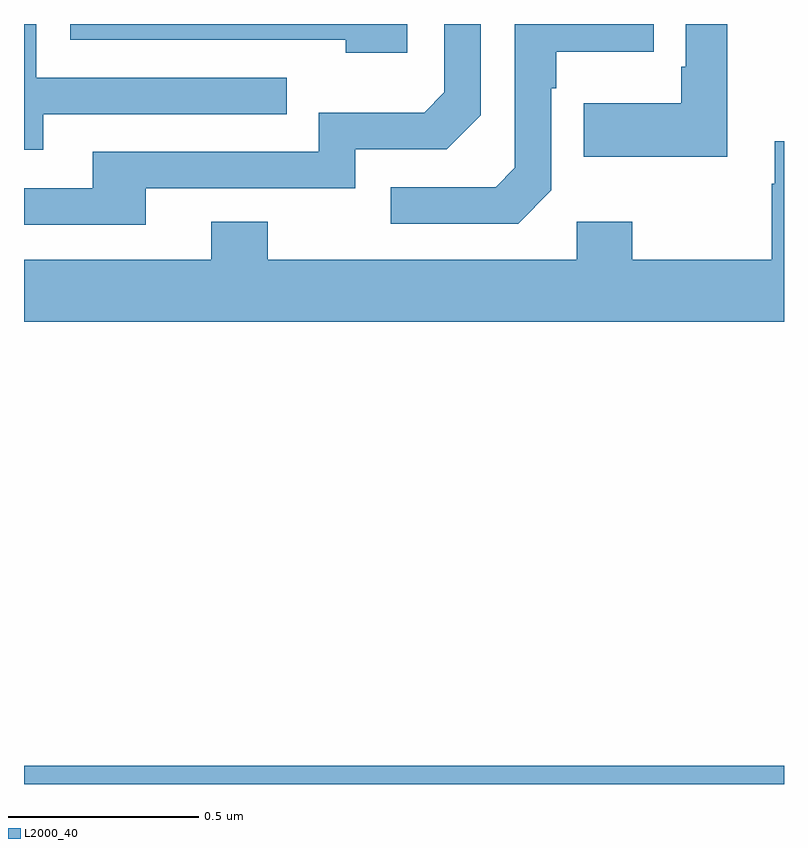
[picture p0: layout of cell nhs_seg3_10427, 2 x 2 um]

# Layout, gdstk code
import gdstk
lib = gdstk.Library(unit=1e-6, precision=1e-09)
def R(c, l, rs):  # rectangles x0, y0, x1, y1
    for r in rs: c.add(gdstk.rectangle(r[:2], r[2:], *l))
def P(c, l, *ps):  # polygons
    for p in ps: c.add(gdstk.Polygon(p, *l))
L2000_40 = (2000, 40)

nhs_seg3_10427 = lib.new_cell('nhs_seg3_10427')
R(nhs_seg3_10427, L2000_40, [(241,666.4,243,666.448)])
P(nhs_seg3_10427, L2000_40, [(242.008,668.4),(241.122,668.4),(241.122,668.358),(241.847,668.358),(241.847,668.324),(242.008,668.324)],
  [(241.051,668.163),(241.691,668.163),(241.691,668.259),(241.032,668.259),(241.032,668.4),(241,668.4),(241,668.069),(241.051,668.069)],
  [(242.388,667.962),(242.388,668.231),(242.401,668.231),(242.401,668.327),(242.657,668.327),(242.657,668.4),(242.292,668.4),(242.292,668.022),(242.241,667.971),(241.965,667.971),(241.965,667.875),(242.301,667.875)],
  [(241.321,667.968),(241.872,667.968),(241.872,668.07),(242.112,668.07),(242.202,668.16),(242.202,668.4),(242.106,668.4),(242.106,668.22),(242.053,668.167),(241.776,668.167),(241.776,668.064),(241.181,668.064),(241.181,667.968),(241,667.968),(241,667.872),(241.321,667.872)],
  [(242.851,668.4),(242.742,668.4),(242.742,668.287),(242.73,668.287),(242.73,668.191),(242.473,668.191),(242.473,668.051),(242.851,668.051)],
  [(241.493,667.879),(241.493,667.78),(241,667.78),(241,667.616),(243,667.616),(243,668.092),(242.975,668.092),(242.975,667.979),(242.968,667.979),(242.968,667.78),(242.601,667.78),(242.601,667.879),(242.454,667.879),(242.454,667.78),(241.641,667.78),(241.641,667.879)])

lib.write_gds('nhs_seg3_10427.gds')
